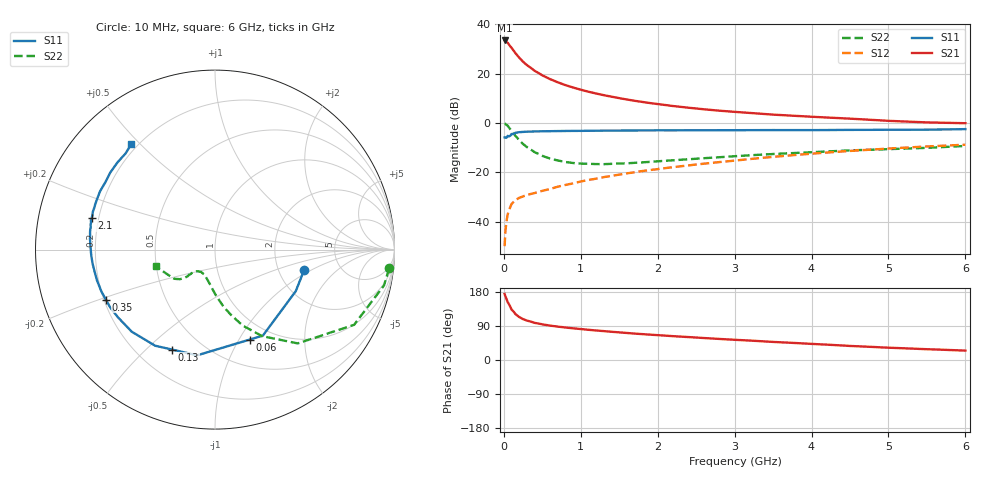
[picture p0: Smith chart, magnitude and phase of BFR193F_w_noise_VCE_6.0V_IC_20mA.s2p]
! Infineon Technologies  Discrete & RF Semiconductors
! BFR193F
! VCE =  6.0 V,  IC =  20 mA
! Common Emitter S-Parameters:  Jan 2017
# GHz  S  MA  R  50
!  f  S11  S21  S12  S22
! GHz  MAG  ANG  MAG  ANG  MAG  ANG  MAG  ANG
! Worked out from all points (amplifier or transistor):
!   77 points, 10 MHz to 6 GHz, reference 50 ohm
!   highest |S21| = 33.4 dB at 10 MHz (marker M1)
!   |S21| within 3 dB of that: start of sweep to 100.5 MHz
!   unconditionally stable (mu >= 1): 1.32 GHz to 2.742 GHz
!   at 130 MHz: K = 0.28, MSG = 30.5 dB, |S12| = -31.9 dB
!   at 2.2 GHz: K = 1.02, MAG = 11.4 dB, |S12| = -17.9 dB
!   at 6 GHz: K = 0.84, MSG = 4.4 dB, |S12| = -8.8 dB
!   lowest NFmin = 1.04 dB at 450 MHz
!   S11 on the Smith chart (normalised r, x): 10 MHz: 2.78, -0.85; 60 MHz: 0.79, -1.11; 130 MHz: 0.34, -0.60; 350 MHz: 0.21, -0.21; 2.1 GHz: 0.17, +0.12; 6 GHz: 0.17, +0.47
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0.01  0.5096 -12.9  46.89 174.3  0.0032 86.1  0.9765 -6.1
0.02  0.5061 -27.2  46.12 168.1  0.0063 77.5  0.9624 -12.0
0.05  0.5484 -60.9  42.07 152.6  0.0141 69.1  0.8811 -28.4
0.06  0.5372 -68.9  39.99 149.4  0.0158 65.4  0.837 -31.7
0.1  0.5971 -99.5  33.27 133.2  0.0228 56.3  0.6966 -48.6
0.13  0.6062 -113.3  28.78 126.8  0.0255 51.7  0.6046 -55.5
0.15  0.6309 -121.9  26.04 121.3  0.0273 49.1  0.5496 -61.4
0.2  0.6515 -135.4  20.99 113.4  0.0305 46.1  0.4501 -70.0
0.25  0.659 -144.9  17.39 107.9  0.0326 45.0  0.3749 -76.2
0.3  0.6668 -151.0  14.84 104.0  0.035 46.4  0.325 -81.2
0.35  0.6687 -155.4  13.1 101.4  0.0365 47.2  0.2903 -84.5
0.4  0.6745 -159.7  11.39 98.0  0.0381 48.0  0.2568 -88.6
0.5  0.6795 -165.4  9.222 94.1  0.0422 51.1  0.2163 -94.4
0.6  0.6819 -169.6  7.747 90.8  0.046 53.7  0.1901 -99.4
0.8  0.6883 -175.5  5.847 85.8  0.0555 58.1  0.1622 -108.0
1.1  0.6943 178.2  4.295 79.7  0.07 63.0  0.1491 -117.3
1.5  0.7025 172.4  3.185 72.9  0.09 66.8  0.151 -126.3
2.1  0.7097 165.6  2.309 64.3  0.1218 69.5  0.1714 -133.0
3.1  0.7148 156.5  1.637 52.3  0.1794 70.2  0.2168 -136.1
4.1  0.7181 147.4  1.313 41.5  0.2452 67.8  0.2602 -140.8
5.1  0.7288 137.2  1.089 31.7  0.3096 62.9  0.2987 -152.5
6  0.7509 128.4  0.989 24.8  0.3627 57.8  0.3427 -164.1
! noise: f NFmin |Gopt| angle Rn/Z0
0.45  1.04  0.33  168  0.06
0.9  1.12  0.39  169  0.07
1.9  1.71  0.57  -171  0.06
2.4  2.01  0.61  -161  0.1
